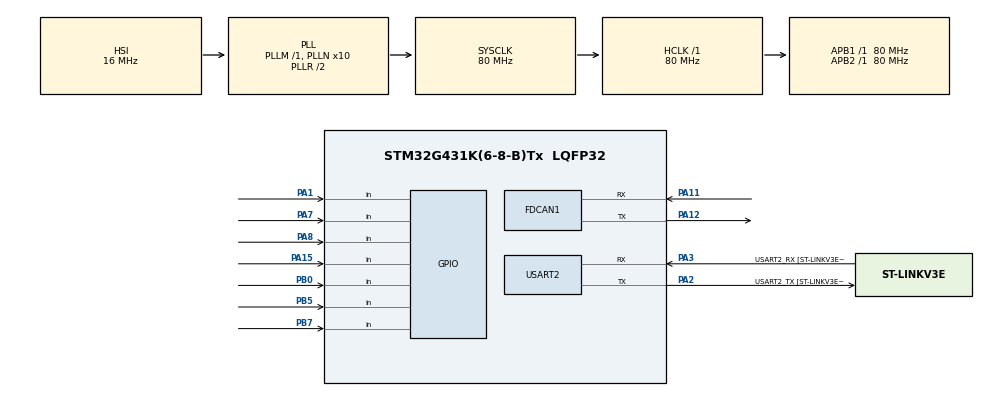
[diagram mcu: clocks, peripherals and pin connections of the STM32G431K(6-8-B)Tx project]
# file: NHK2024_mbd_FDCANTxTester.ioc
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FDCAN1.AutoRetransmission=ENABLE
FDCAN1.CalculateBaudRateNominal=1000000
FDCAN1.CalculateTimeBitNominal=1000
FDCAN1.CalculateTimeQuantumNominal=50.0
FDCAN1.DataPrescaler=2
FDCAN1.DataSyncJumpWidth=1
FDCAN1.DataTimeSeg1=15
FDCAN1.DataTimeSeg2=4
FDCAN1.FrameFormat=FDCAN_FRAME_FD_BRS
FDCAN1.Mode=FDCAN_MODE_NORMAL
FDCAN1.NominalPrescaler=4
FDCAN1.NominalSyncJumpWidth=1
FDCAN1.NominalTimeSeg1=15
FDCAN1.NominalTimeSeg2=4
FDCAN1.StdFiltersNbr=1
Mcu.Family=STM32G4
Mcu.Name=STM32G431K(6-8-B)Tx
Mcu.Package=LQFP32
NVIC.FDCAN1_IT0_IRQn=true\:0\:0\:false\:false\:true\:true\:true\:true
NVIC.FDCAN1_IT1_IRQn=true\:0\:0\:false\:false\:true\:true\:true\:true
NVIC.PriorityGroup=NVIC_PRIORITYGROUP_4
PA1.GPIO_Mode=GPIO_MODE_INPUT
PA1.GPIO_PuPd=GPIO_PULLUP
PA1.Signal=GPIO_Input
PA11.Mode=FDCAN_Activate
PA11.Signal=FDCAN1_RX
PA12.Mode=FDCAN_Activate
PA12.Signal=FDCAN1_TX
PA13.GPIO_Label=T_SWDIO
PA13.Mode=Serial_Wire
PA13.Signal=SYS_JTMS-SWDIO
PA14.GPIO_Label=T_SWCLK
PA14.Mode=Serial_Wire
PA14.Signal=SYS_JTCK-SWCLK
PA15.GPIO_Mode=GPIO_MODE_INPUT
PA15.GPIO_PuPd=GPIO_PULLUP
PA15.Signal=GPIO_Input
PA2.GPIO_Label=USART2_TX [ST-LINKV3E_VCP_RX]
PA2.Mode=Asynchronous
PA2.Signal=USART2_TX
PA3.GPIO_Label=USART2_RX [ST-LINKV3E_VCP_TX]
PA3.Mode=Asynchronous
PA3.Signal=USART2_RX
PA7.GPIO_Mode=GPIO_MODE_INPUT
PA7.GPIO_PuPd=GPIO_PULLUP
PA7.Signal=GPIO_Input
PA8.GPIO_Mode=GPIO_MODE_INPUT
PA8.GPIO_PuPd=GPIO_PULLUP
PA8.Signal=GPIO_Input
PB0.GPIO_Mode=GPIO_MODE_INPUT
PB0.GPIO_PuPd=GPIO_PULLUP
PB0.Signal=GPIO_Input
PB5.GPIO_Mode=GPIO_MODE_INPUT
PB5.GPIO_PuPd=GPIO_PULLUP
PB5.Signal=GPIO_Input
PB7.GPIO_Mode=GPIO_MODE_INPUT
PB7.GPIO_PuPd=GPIO_PULLUP
PB7.Signal=GPIO_Input
ProjectManager.HeapSize=0x200
ProjectManager.StackSize=0x400
ProjectManager.TargetToolchain=STM32CubeIDE
RCC.ADC12Freq_Value=80000000
RCC.AHBFreq_Value=80000000
RCC.APB1Freq_Value=80000000
RCC.APB1TimFreq_Value=80000000
RCC.APB2Freq_Value=80000000
RCC.APB2TimFreq_Value=80000000
RCC.CortexFreq_Value=80000000
RCC.EXTERNAL_CLOCK_VALUE=12288000
RCC.HCLKFreq_Value=80000000
RCC.HSE_VALUE=8000000
RCC.HSI48_VALUE=48000000
RCC.HSI_VALUE=16000000
RCC.LSE_VALUE=32768
RCC.PLLN=10
RCC.SYSCLKFreq_VALUE=80000000
RCC.SYSCLKSource=RCC_SYSCLKSOURCE_PLLCLK
RCC.USBFreq_Value=80000000
RCC.VCOOutputFreq_Value=160000000
USART2.VirtualMode-Asynchronous=VM_ASYNC
USART2.WordLength=WORDLENGTH_8B
board=NUCLEO-G431KB

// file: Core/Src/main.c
/* USER CODE BEGIN Header */
/**
  ******************************************************************************
  * @file           : main.c
  * @brief          : Main program body
  ******************************************************************************
  * @attention
  *
  * Copyright (c) 2024 STMicroelectronics.
  * All rights reserved.
  *
  * This software is licensed under terms that can be found in the LICENSE file
  * in the root directory of this software component.
  * If no LICENSE file comes with this software, it is provided AS-IS.
  *
  ******************************************************************************
  */
/* USER CODE END Header */
#include "main.h"

/* USER CODE BEGIN Includes */
#include <stdio.h>
/* USER CODE END Includes */

FDCAN_HandleTypeDef hfdcan1;

UART_HandleTypeDef huart2;

/* USER CODE BEGIN PV */
FDCAN_TxHeaderTypeDef ArmTxHeader;

/* USER CODE END PV */

void SystemClock_Config(void);
static void MX_GPIO_Init(void);
static void MX_USART2_UART_Init(void);
static void MX_FDCAN1_Init(void);

/* USER CODE BEGIN 0 */
int _write(int file, char *ptr, int len)
{
		HAL_UART_Transmit(&huart2, (uint8_t *)ptr, len, 10);
		return len;
}

/* USER CODE END 0 */

int main(void)
{
  /* USER CODE BEGIN 1 */

	setbuf(stdout, NULL);

  /* USER CODE END 1 */

  /* MCU Configuration--------------------------------------------------------*/

  /* Reset of all peripherals, Initializes the Flash interface and the Systick. */
  HAL_Init();

  /* Configure the system clock */
  SystemClock_Config();

  /* Initialize all configured peripherals */
  MX_GPIO_Init();
  MX_USART2_UART_Init();
  MX_FDCAN1_Init();
  /* USER CODE BEGIN 2 */
  //HAL_FDCAN_ActivateNotification(&hfdcan1, FDCAN_IT_RX_FIFO0_NEW_MESSAGE, 0);

  /* USER CODE END 2 */

  /* Infinite loop */
  /* USER CODE BEGIN WHILE */
  while (1)
  {

	  int8_t RobotVel[3]={};
	  uint8_t TxData[3];
	   if(HAL_GPIO_ReadPin(GPIOA, GPIO_PIN_8)==GPIO_PIN_RESET){
		  RobotVel[1]=127;
		  printf("Y+\r\n");
	  }
	   else if(HAL_GPIO_ReadPin(GPIOB, GPIO_PIN_7)==GPIO_PIN_RESET){
		  RobotVel[1]=-127;
		  printf("Y-\r\n");
	  }
	  if(HAL_GPIO_ReadPin(GPIOB, GPIO_PIN_5)==GPIO_PIN_RESET){
		  RobotVel[0]=127;
		  printf("X+\r\n");
	  }
	  else if(HAL_GPIO_ReadPin(GPIOA, GPIO_PIN_15)==GPIO_PIN_RESET){
		  RobotVel[0]=-127;
		  printf("X-\r\n");
	  }
	 if(HAL_GPIO_ReadPin(GPIOA, GPIO_PIN_1)==GPIO_PIN_RESET){
		  RobotVel[2]=127;
		  printf("R+\r\n");
	  }
	  else if(HAL_GPIO_ReadPin(GPIOB, GPIO_PIN_0)==GPIO_PIN_RESET){
		  RobotVel[2]=-127;
		  printf("R-\r\n");
	  }
	   if(HAL_GPIO_ReadPin(GPIOA, GPIO_PIN_7)==GPIO_PIN_RESET){
		   for(uint8_t i=0; i<3; i++){
			   RobotVel[i]/=8;
		   }
		   printf("Slow\r\n");
	   }

	  for(int i=0; i<3; i++){
		  TxData[i] = RobotVel[i]+127;

	  }
	  printf("X:%d, Y%d, Om%d\r\n", TxData[0], TxData[1], TxData[2]);

	  if (HAL_FDCAN_AddMessageToTxFifoQ(&hfdcan1, &ArmTxHeader, TxData) != HAL_OK) {
		  printf("FDCAN ERROR\r\n");
	  		Error_Handler();
	  	}

	  HAL_Delay(15);
    /* USER CODE END WHILE */

  }
}

void SystemClock_Config(void)
{
  RCC_OscInitTypeDef RCC_OscInitStruct = {0};
  RCC_ClkInitTypeDef RCC_ClkInitStruct = {0};

  /** Configure the main internal regulator output voltage
  */
  HAL_PWREx_ControlVoltageScaling(PWR_REGULATOR_VOLTAGE_SCALE1);

  /** Initializes the RCC Oscillators according to the specified parameters
  * in the RCC_OscInitTypeDef structure.
  */
  RCC_OscInitStruct.OscillatorType = RCC_OSCILLATORTYPE_HSI;
  RCC_OscInitStruct.HSIState = RCC_HSI_ON;
  RCC_OscInitStruct.HSICalibrationValue = RCC_HSICALIBRATION_DEFAULT;
  RCC_OscInitStruct.PLL.PLLState = RCC_PLL_ON;
  RCC_OscInitStruct.PLL.PLLSource = RCC_PLLSOURCE_HSI;
  RCC_OscInitStruct.PLL.PLLM = RCC_PLLM_DIV1;
  RCC_OscInitStruct.PLL.PLLN = 10;
  RCC_OscInitStruct.PLL.PLLP = RCC_PLLP_DIV2;
  RCC_OscInitStruct.PLL.PLLQ = RCC_PLLQ_DIV2;
  RCC_OscInitStruct.PLL.PLLR = RCC_PLLR_DIV2;
  if (HAL_RCC_OscConfig(&RCC_OscInitStruct) != HAL_OK)
  {
    Error_Handler();
  }

  /** Initializes the CPU, AHB and APB buses clocks
  */
  RCC_ClkInitStruct.ClockType = RCC_CLOCKTYPE_HCLK|RCC_CLOCKTYPE_SYSCLK
                              |RCC_CLOCKTYPE_PCLK1|RCC_CLOCKTYPE_PCLK2;
  RCC_ClkInitStruct.SYSCLKSource = RCC_SYSCLKSOURCE_PLLCLK;
  RCC_ClkInitStruct.AHBCLKDivider = RCC_SYSCLK_DIV1;
  RCC_ClkInitStruct.APB1CLKDivider = RCC_HCLK_DIV1;
  RCC_ClkInitStruct.APB2CLKDivider = RCC_HCLK_DIV1;

  if (HAL_RCC_ClockConfig(&RCC_ClkInitStruct, FLASH_LATENCY_2) != HAL_OK)
  {
    Error_Handler();
  }
}

static void MX_FDCAN1_Init(void)
{

  hfdcan1.Instance = FDCAN1;
  hfdcan1.Init.ClockDivider = FDCAN_CLOCK_DIV1;
  hfdcan1.Init.FrameFormat = FDCAN_FRAME_FD_BRS;
  hfdcan1.Init.Mode = FDCAN_MODE_NORMAL;
  hfdcan1.Init.AutoRetransmission = DISABLE;
  hfdcan1.Init.TransmitPause = DISABLE;
  hfdcan1.Init.ProtocolException = DISABLE;
  hfdcan1.Init.NominalPrescaler = 4;
  hfdcan1.Init.NominalSyncJumpWidth = 1;
  hfdcan1.Init.NominalTimeSeg1 = 15;
  hfdcan1.Init.NominalTimeSeg2 = 4;
  hfdcan1.Init.DataPrescaler = 2;
  hfdcan1.Init.DataSyncJumpWidth = 1;
  hfdcan1.Init.DataTimeSeg1 = 15;
  hfdcan1.Init.DataTimeSeg2 = 4;
  hfdcan1.Init.StdFiltersNbr = 1;
  hfdcan1.Init.ExtFiltersNbr = 0;
  hfdcan1.Init.TxFifoQueueMode = FDCAN_TX_FIFO_OPERATION;
  if (HAL_FDCAN_Init(&hfdcan1) != HAL_OK)
  {
    Error_Handler();
  }
  /* USER CODE BEGIN FDCAN1_Init 2 */
	ArmTxHeader.IdType = FDCAN_STANDARD_ID;
	ArmTxHeader.TxFrameType = FDCAN_DATA_FRAME;
	ArmTxHeader.DataLength = FDCAN_DLC_BYTES_3;
	ArmTxHeader.ErrorStateIndicator = FDCAN_ESI_ACTIVE;
	ArmTxHeader.BitRateSwitch = FDCAN_BRS_OFF;
	ArmTxHeader.FDFormat = FDCAN_CLASSIC_CAN;
	ArmTxHeader.TxEventFifoControl = FDCAN_NO_TX_EVENTS;
	ArmTxHeader.MessageMarker = 0;
	ArmTxHeader.Identifier = 0x106;

  if (HAL_FDCAN_Start(&hfdcan1) != HAL_OK) {
    		Error_Handler();
    	}

  /* USER CODE END FDCAN1_Init 2 */

}

static void MX_USART2_UART_Init(void)
{

  huart2.Instance = USART2;
  huart2.Init.BaudRate = 115200;
  huart2.Init.WordLength = UART_WORDLENGTH_8B;
  huart2.Init.StopBits = UART_STOPBITS_1;
  huart2.Init.Parity = UART_PARITY_NONE;
  huart2.Init.Mode = UART_MODE_TX_RX;
  huart2.Init.HwFlowCtl = UART_HWCONTROL_NONE;
  huart2.Init.OverSampling = UART_OVERSAMPLING_16;
  huart2.Init.OneBitSampling = UART_ONE_BIT_SAMPLE_DISABLE;
  huart2.Init.ClockPrescaler = UART_PRESCALER_DIV1;
  huart2.AdvancedInit.AdvFeatureInit = UART_ADVFEATURE_NO_INIT;
  if (HAL_UART_Init(&huart2) != HAL_OK)
  {
    Error_Handler();
  }
  if (HAL_UARTEx_SetTxFifoThreshold(&huart2, UART_TXFIFO_THRESHOLD_1_8) != HAL_OK)
  {
    Error_Handler();
  }
  if (HAL_UARTEx_SetRxFifoThreshold(&huart2, UART_RXFIFO_THRESHOLD_1_8) != HAL_OK)
  {
    Error_Handler();
  }
  if (HAL_UARTEx_DisableFifoMode(&huart2) != HAL_OK)
  {
    Error_Handler();
  }

}

static void MX_GPIO_Init(void)
{
  GPIO_InitTypeDef GPIO_InitStruct = {0};

  /* GPIO Ports Clock Enable */
  __HAL_RCC_GPIOA_CLK_ENABLE();
  __HAL_RCC_GPIOB_CLK_ENABLE();

  /*Configure GPIO pins : PA1 PA7 PA8 PA15 */
  GPIO_InitStruct.Pin = GPIO_PIN_1|GPIO_PIN_7|GPIO_PIN_8|GPIO_PIN_15;
  GPIO_InitStruct.Mode = GPIO_MODE_INPUT;
  GPIO_InitStruct.Pull = GPIO_PULLUP;
  HAL_GPIO_Init(GPIOA, &GPIO_InitStruct);

  /*Configure GPIO pins : PB0 PB5 PB7 */
  GPIO_InitStruct.Pin = GPIO_PIN_0|GPIO_PIN_5|GPIO_PIN_7;
  GPIO_InitStruct.Mode = GPIO_MODE_INPUT;
  GPIO_InitStruct.Pull = GPIO_PULLUP;
  HAL_GPIO_Init(GPIOB, &GPIO_InitStruct);

}

void Error_Handler(void)
{
  __disable_irq();
  while (1)
  {
  }
}
